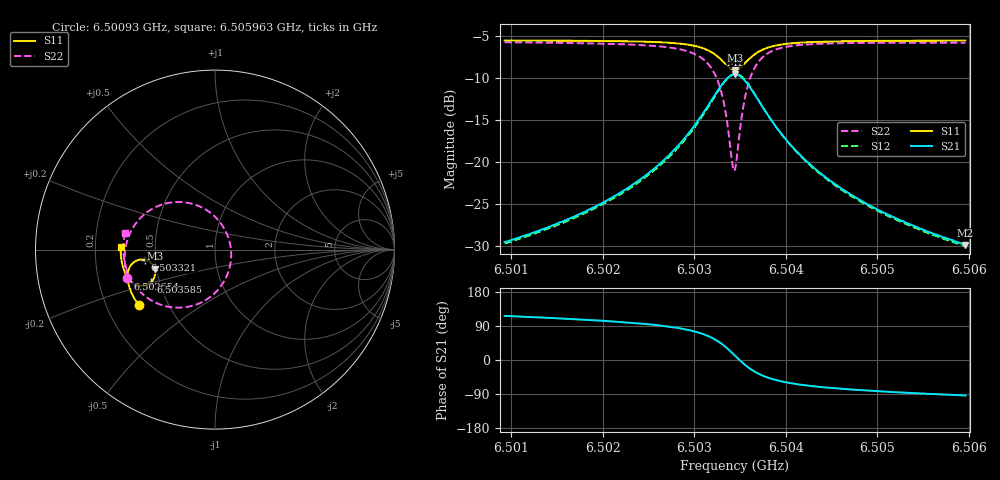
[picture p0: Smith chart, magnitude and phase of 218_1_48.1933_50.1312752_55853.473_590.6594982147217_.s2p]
#  HZ  S  RI  R  50.00
! Rohde & Schwarz Vector Network Analyzer
! Rohde-Schwarz,ZNB20-2Port,1311601062101988,3.16
! Created: UTC 3/20/2024, 11:45:49 AM
! freq[Hz]  re:S11  im:S11  re:S21  im:S21  re:S12  im:S12  re:S22  im:S22
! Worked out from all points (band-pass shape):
!   401 points, 6.50093 GHz to 6.505963 GHz, reference 50 ohm
!   highest |S21| = -9.60 dB at 6.503446 GHz (marker M1); lowest = -29.8 dB at 6.505963 GHz (marker M2)
!   |S21| within 3 dB of the highest: 6.503194 GHz to 6.503698 GHz (503.6 kHz wide, 0.00774 % of centre)
!   lowest |S11| = -9.1 dB at 6.503446 GHz (marker M3), VSWR 2.09, Z = 24.4 - j5.94 ohm
!   |S11| at or under -10 dB: nowhere
!   |S22| runs from -21.0 to -5.8 dB; largest |S21 - S12| = 0.012
!   S11 on the Smith chart (normalised r, x): 6.50093 GHz: 0.34, -0.29; 6.502654 GHz: 0.33, -0.14; 6.503321 GHz: 0.44, -0.06; 6.503585 GHz: 0.45, -0.19; 6.505963 GHz: 0.31, +0.01
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6.50093e9  -0.4255 -0.3104  -0.015 0.0301  -0.0132 0.0302  -0.4895 -0.156
6.501773e9  -0.4617 -0.2482  -0.0143 0.0477  -0.0119 0.0474  -0.5029 -0.0666
6.5022763e9  -0.4794 -0.2032  -0.0108 0.0694  -0.0078 0.0682  -0.499 0.00586
6.502616e9  -0.4871 -0.1653  -0.00234 0.0967  0.00142 0.0944  -0.4803 0.075
6.5026537e9  -0.4876 -0.1604  -0.000566 0.1008  0.00322 0.0984  -0.4765 0.0843
6.5029305e9  -0.4836 -0.1175  0.0263 0.1434  0.03 0.1391  -0.4208 0.1704
6.5031193e9  -0.4621 -0.0793  0.0806 0.1858  0.0833 0.1795  -0.3166 0.243
6.5032325e9  -0.4293 -0.0586  0.1503 0.2033  0.1511 0.197  -0.1911 0.2653
6.5033206e9  -0.3885 -0.0571  0.2304 0.1868  0.2306 0.1817  -0.0532 0.224
6.5033583e9  -0.3692 -0.0649  0.2668 0.1634  0.2678 0.1588  0.00738 0.1762
6.5034212e9  -0.3425 -0.0919  0.3146 0.0986  0.3173 0.0937  0.0791 0.0516
6.5034464e9  -0.336 -0.1067  0.3245 0.0661  0.328 0.0602  0.0898 -0.00913
6.5034716e9  -0.3333 -0.1224  0.3281 0.0321  0.3316 0.025  0.0873 -0.0711
6.5035345e9  -0.3405 -0.1599  0.3094 -0.0462  0.3115 -0.0563  0.0303 -0.2071
6.5035848e9  -0.3571 -0.1818  0.2754 -0.0919  0.2751 -0.1031  -0.0468 -0.2779
6.5036981e9  -0.4018 -0.2012  0.1907 -0.1363  0.1852 -0.1457  -0.2186 -0.3233
6.5038616e9  -0.448 -0.1916  0.1087 -0.1329  0.1016 -0.1379  -0.3664 -0.2759
6.5040378e9  -0.4755 -0.1701  0.064 -0.1125  0.0578 -0.1148  -0.4384 -0.2105
6.5042894e9  -0.4963 -0.1402  0.0339 -0.0881  0.0291 -0.0886  -0.4819 -0.138
6.5046543e9  -0.5114 -0.102  0.0152 -0.0654  0.0119 -0.065  -0.5038 -0.0652
6.5051324e9  -0.5212 -0.0577  0.00508 -0.0481  0.00275 -0.0474  -0.5103 0.00262
6.5059628e9  -0.5259 0.0125  -0.00206 -0.0322  -0.00335 -0.0316  -0.5024 0.0905
